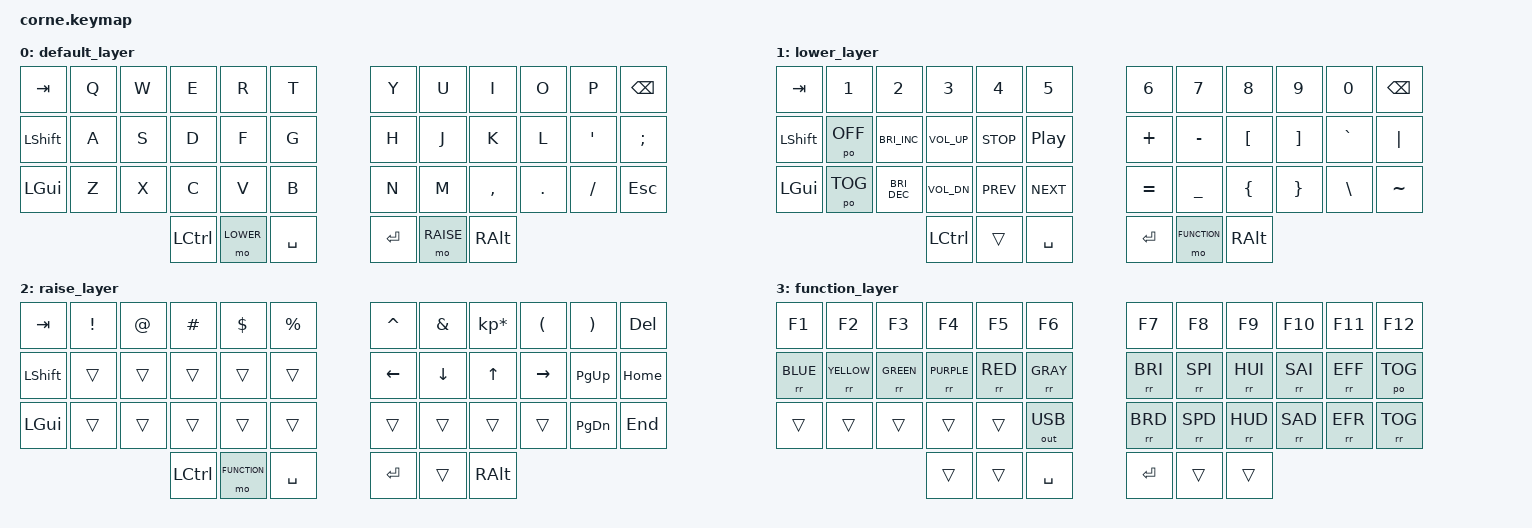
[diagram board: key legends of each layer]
#include <behaviors.dtsi>
#include <dt-bindings/zmk/keys.h>
#include <dt-bindings/zmk/rgb.h>
#include <dt-bindings/zmk/outputs.h>
#include <dt-bindings/zmk/ext_power.h>
#include <../boards/shields/corne/boards/nice_nano.overlay>

#define LOWER 1
#define RAISE 2
#define FUNCTION 3

#define rr rgb_ug
#define po ext_power

#define BLUE RGB_COLOR_HSB(240,100,100)
#define YELLOW RGB_COLOR_HSB(60,100,100)
#define GREEN RGB_COLOR_HSB(65,100,100)
#define PURPLE RGB_COLOR_HSB(280,100,100)
#define RED RGB_COLOR_HSB(0,100,100)
#define GRAY RGB_COLOR_HSB(0,0,50)


// Overwrite number of leds on the keyboard. A Corne has 27 per side.
&led_strip {
    chain-length = <27>;
};

/ {
        keymap {
                compatible = "zmk,keymap";

                default_layer {
// -----------------------------------------------------------------------------------------
// |  TAB |  q  |  w  |  e    |  r  |  t  |   |  y  |  u  |  i  |  o  |  p  | BSPC |
// | SHFT |  a  |  s  |  d    |  f  |  g  |   |  h  |  j  |  k  |  l  |  '  |  ;   |
// | LGUI |  z  |  x  |  c    |  v  |  b  |   |  n  |  m  |  ,  |  .  |  /  | ESC  |
//                    | LCTRL | LWR | SPC |   | ENT | RSE | ALT |

                        bindings = <
    &kp TAB   &kp Q &kp W &kp E     &kp R     &kp T       &kp Y   &kp U     &kp I     &kp O   &kp P    &kp BSPC
    &kp LSHFT &kp A &kp S &kp D     &kp F     &kp G       &kp H   &kp J     &kp K     &kp L   &kp SQT  &kp SEMI
    &kp LGUI  &kp Z &kp X &kp C     &kp V     &kp B       &kp N   &kp M     &kp COMMA &kp DOT &kp FSLH &kp ESC
                          &kp LCTRL &mo LOWER &kp SPACE   &kp RET &mo RAISE &kp RALT
                        >;
                };

//              shift_layer {
// -----------------------------------------------------------------------------------------
// |  TAB |  Q  |  W  |  E    |  R  |  T  |   |  Y  |  U  |  I  |  O  |  P  | BSPC |
// | XXXX |  A  |  S  |  D    |  F  |  G  |   |  H  |  J  |  K  |  L  |  "  |  :   |
// |  GUI |  Z  |  X  |  C    |  V  |  B  |   |  N  |  M  |  <  |  >  |  ?  | ESC  |
//                    | LCTRL | LWR | SPC |   | ENT | RSE | ALT |

//                        bindings = <
//    &kp TAB   &kp Q &kp W &kp E     &kp R     &kp T       &kp Y   &kp U     &kp I     &kp O   &kp P    &kp BSPC
//    &kp LSHFT &kp A &kp S &kp D     &kp F     &kp G       &kp H   &kp J     &kp K     &kp L   &kp SQT  &kp SEMI
//    &kp LGUI  &kp Z &kp X &kp C     &kp V     &kp B       &kp N   &kp M     &kp COMMA &kp DOT &kp FSLH &kp ESC
//                          &kp LCTRL &mo LOWER &kp SPACE   &kp RET &mo RAISE &kp RALT
//                        >;
//                };

                lower_layer {
// -----------------------------------------------------------------------------------------
// |  TAB |  1    |  2   |  3    |  4   |  5   |   |  6  |  7  |  8  |  9  |  0  | BSPC |
// | SHFT | EPoff | BRI+ | VOL+  | STOP | PLAY |   |  +  |  -  |  [  |  ]  |  `  |  |   |
// | LGUI | EPtog | BRI- | VOL-  | PREC | NEXT |   |  =  |  _  |  {  |  }  |  \  |  ~   |
//                       | LCTRL | XXX  | SPC  |   | ENT | FUN | ALT |
                        bindings = <
    &kp TAB   &kp N1     &kp N2        &kp N3       &kp N4     &kp N5       &kp N6    &kp N7       &kp N8   &kp N9   &kp N0    &kp BSPC
    &kp LSHFT &po EP_OFF &kp C_BRI_INC &kp C_VOL_UP &kp C_STOP &kp C_PP     &kp PLUS  &kp MINUS    &kp LBKT &kp RBKT &kp GRAVE &kp PIPE
    &kp LGUI  &po EP_TOG &kp C_BRI_DEC &kp C_VOL_DN &kp C_PREV &kp C_NEXT   &kp EQUAL &kp UNDER    &kp LBRC &kp RBRC &kp BSLH  &kp TILDE
                                       &kp LCTRL    &trans     &kp SPACE    &kp RET   &mo FUNCTION &kp RALT
                        >;
                };

                raise_layer {
// -----------------------------------------------------------------------------------------
// |  TAB |  !  |  @  |   #   |  $  |  %  |   |  ^  |  &  |  *  |  (  |  )     | DEL  |
// | SHFT |     |     |       |     |     |   | LFT | DWN |  UP | RGT | PAGEUP | HOME |
// | LGUI |     |     |       |     |     |   |     |     |     |     | PAGEDN | END  |
//                    | LCTRL | FUN | SPC |   | ENT | XXX | ALT |

                        bindings = <
    &kp  TAB  &kp EXCL &kp AT &kp HASH  &kp DLLR     &kp PRCNT    &kp CARET &kp AMPS  &kp KP_MULTIPLY &kp LPAR  &kp RPAR  &kp DELETE
    &kp LSHFT &trans   &trans &trans    &trans       &trans       &kp LEFT  &kp DOWN  &kp UP          &kp RIGHT &kp PG_UP &kp HOME
    &kp LGUI  &trans   &trans &trans    &trans       &trans       &trans    &trans    &trans          &trans    &kp PG_DN &kp END
                      	      &kp LCTRL &mo FUNCTION &kp SPACE    &kp RET   &trans    &kp RALT
                        >;
                };

                function_layer {
// ----------------------------------------------------------------------------------------------------------------
// |  F1   |  F2    |  F3   |  F4    |  F5   |  F6  |   |  F7    |  F8    |  F9    |  F10   | F11    | F12    |
// | BLUE  | YELLOW | GREEN | PURPLE |  RED  | GRAY |   | RGBbr+ | RGBsp+ | RGBhu+ | RGBsa+ | RGBef+ |        |
// |       |        |       |        |       |  USB |   | RGBbr- | RGBsp- | RGBhu- | RGBsa- | RGBef- | RGBoff |
//                          |        | XXXXX |  SPC |   |  ENT   | XXXXXX |        |

                        bindings = <
    &kp F1    &kp F2     &kp F3    &kp F4     &kp F5  &kp  F6        &kp F7      &kp F8      &kp F9      &kp F10     &kp F11     &kp F12
    &rr BLUE  &rr YELLOW &rr GREEN &rr PURPLE &rr RED &rr  GRAY      &rr RGB_BRI &rr RGB_SPI &rr RGB_HUI &rr RGB_SAI &rr RGB_EFF &po EP_TOG
    &trans    &trans     &trans    &trans     &trans  &out OUT_USB   &rr RGB_BRD &rr RGB_SPD &rr RGB_HUD &rr RGB_SAD &rr RGB_EFR &rr RGB_TOG
                                   &trans     &trans  &kp  SPACE     &kp RET     &trans      &trans
                        >;
                };
        };
};
